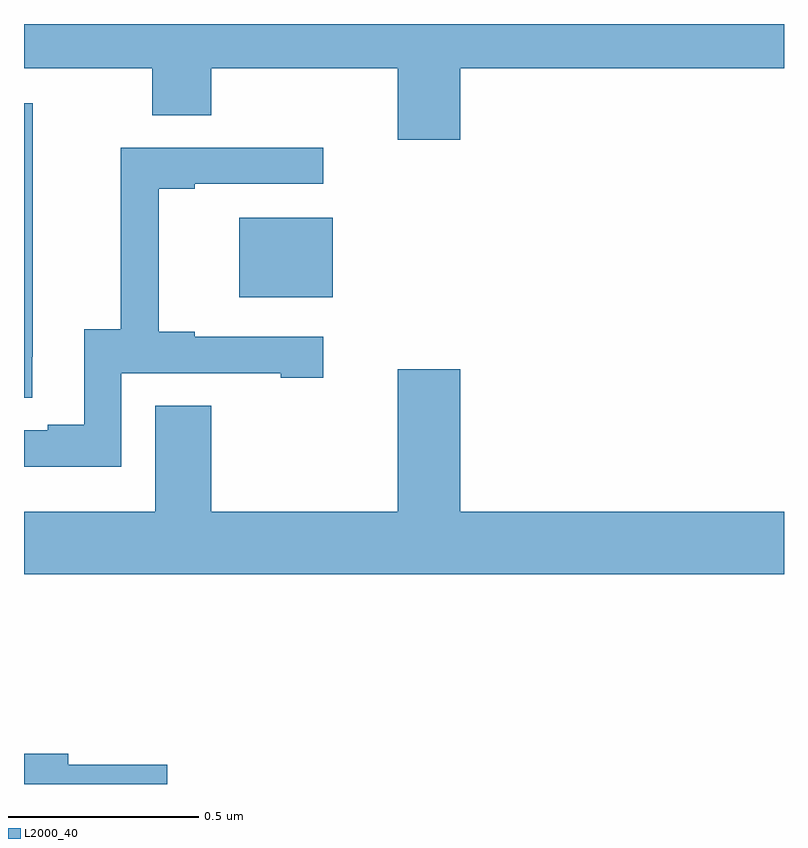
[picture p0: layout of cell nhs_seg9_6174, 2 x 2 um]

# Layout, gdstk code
import gdstk
lib = gdstk.Library(unit=1e-6, precision=1e-09)
def R(c, l, rs):  # rectangles x0, y0, x1, y1
    for r in rs: c.add(gdstk.rectangle(r[:2], r[2:], *l))
def P(c, l, *ps):  # polygons
    for p in ps: c.add(gdstk.Polygon(p, *l))
L2000_40 = (2000, 40)

nhs_seg9_6174 = lib.new_cell('nhs_seg9_6174')
R(nhs_seg9_6174, L2000_40, [(188.567,1231.781,188.812,1231.99)])
P(nhs_seg9_6174, L2000_40, [(189.148,1232.384),(190,1232.384),(190,1232.5),(188,1232.5),(188,1232.384),(188.338,1232.384),(188.338,1232.26),(188.493,1232.26),(188.493,1232.384),(188.984,1232.384),(188.984,1232.196),(189.148,1232.196)],
  [(188.022,1231.624),(188.023,1231.624),(188.023,1232.292),(188,1232.292),(188,1231.516),(188.022,1231.516)],
  [(188.256,1231.581),(188.675,1231.581),(188.675,1231.569),(188.788,1231.569),(188.788,1231.677),(188.449,1231.677),(188.449,1231.69),(188.354,1231.69),(188.354,1232.067),(188.449,1232.067),(188.449,1232.079),(188.788,1232.079),(188.788,1232.175),(188.254,1232.175),(188.254,1231.697),(188.159,1231.697),(188.159,1231.446),(188.063,1231.446),(188.063,1231.431),(188,1231.431),(188,1231.335),(188.256,1231.335)],
  [(190,1231.216),(189.148,1231.216),(189.148,1231.591),(188.984,1231.591),(188.984,1231.216),(188.493,1231.216),(188.493,1231.496),(188.345,1231.496),(188.345,1231.216),(188,1231.216),(188,1231.052),(190,1231.052)],
  [(188.377,1230.551),(188.116,1230.551),(188.116,1230.58),(188,1230.58),(188,1230.5),(188.377,1230.5)])

lib.write_gds('nhs_seg9_6174.gds')
